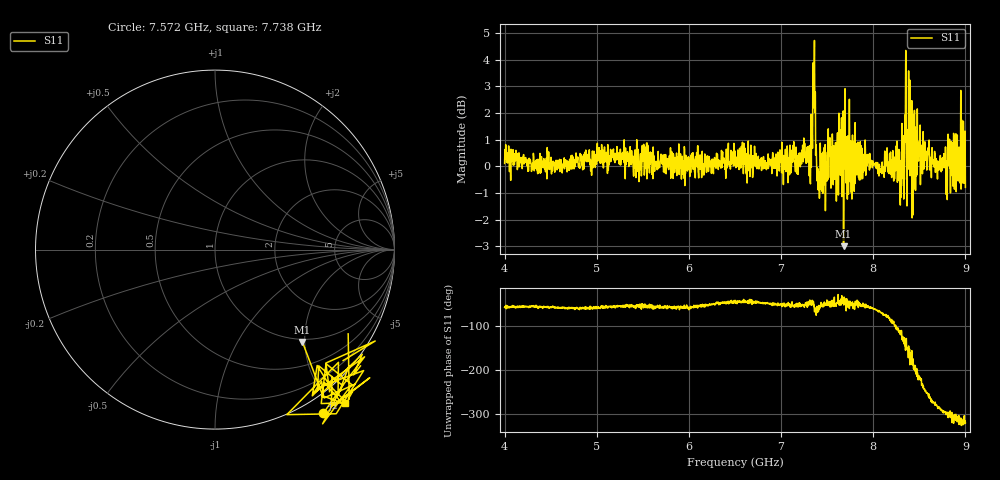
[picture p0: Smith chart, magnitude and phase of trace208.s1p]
! Created with skrf 1.8.0 (http://scikit-rf.org).
# Hz S RI R 50.0
!freq ReS11 ImS11
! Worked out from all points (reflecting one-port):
!   1601 points, 4 GHz to 9 GHz, reference 50 ohm
!   lowest |S11| = -3.0 dB at 7.678 GHz (marker M1), VSWR 5.87, Z = 47.1 - j97.5 ohm
!   phase of S11 starts at -59 deg and turns -261 deg over the sweep
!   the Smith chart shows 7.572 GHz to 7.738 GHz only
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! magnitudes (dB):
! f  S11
! 4 GHz  0.1
! 4.625 GHz  -0.2
! 5.25 GHz  0.1
! 5.875 GHz  0.3
! 6.5 GHz  0.6
! 7.125 GHz  0.2
! 7.294 GHz  0.2
! 7.316 GHz  -0.6
! 7.347 GHz  3.9
! 7.369 GHz  2.8
! 7.397 GHz  -0.5
! 7.412 GHz  -0.8
! 7.512 GHz  1.4
! 7.6 GHz  -1.3
! 7.65 GHz  1.0
! 7.678 GHz  -3.0
! 7.75 GHz  -0.1
! 7.769 GHz  -1.2
! 8.259 GHz  0.9
! 8.284 GHz  0.6
! 8.316 GHz  0.4
! 8.334 GHz  -0.2
! 8.375 GHz  0.3
! 8.447 GHz  2.1
! 8.466 GHz  0.1
! 8.778 GHz  0.4
! 8.956 GHz  0.2
! 9 GHz  -0.8
